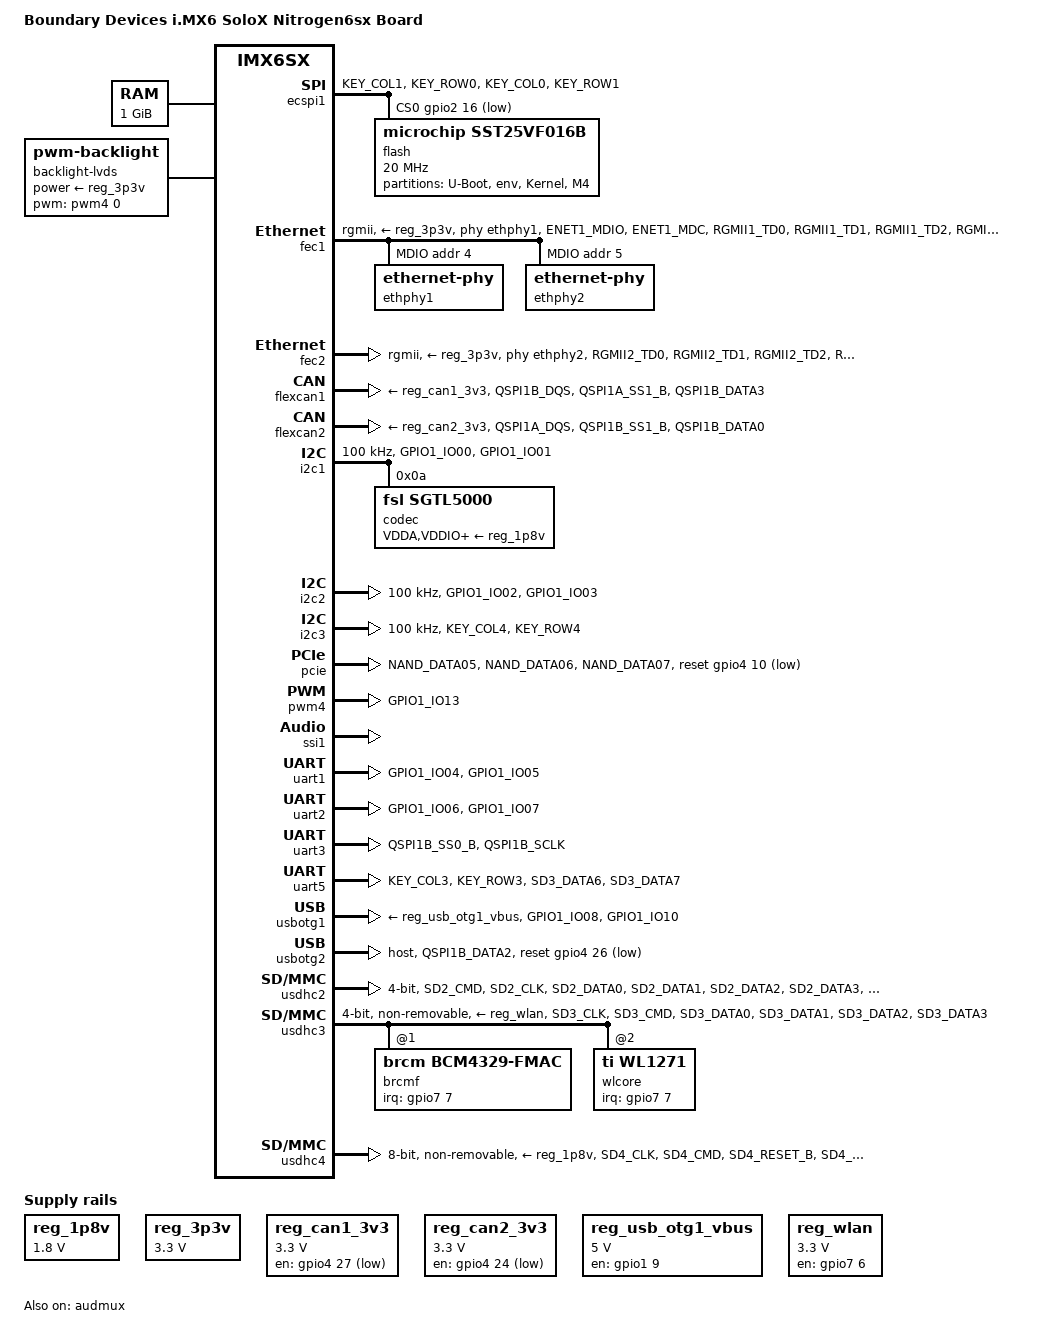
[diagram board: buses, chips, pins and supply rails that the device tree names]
// SPDX-License-Identifier: GPL-2.0 OR X11
/*
 * Copyright (C) 2016 Boundary Devices, Inc.
 */

/dts-v1/;

#include "imx6sx.dtsi"

/ {
	model = "Boundary Devices i.MX6 SoloX Nitrogen6sx Board";
	compatible = "boundary,imx6sx-nitrogen6sx", "fsl,imx6sx";

	memory@80000000 {
		reg = <0x80000000 0x40000000>;
	};

	backlight-lvds {
		compatible = "pwm-backlight";
		pwms = <&pwm4 0 5000000>;
		brightness-levels = <0 4 8 16 32 64 128 255>;
		default-brightness-level = <6>;
		power-supply = <&reg_3p3v>;
	};

	reg_1p8v: regulator-1p8v {
		compatible = "regulator-fixed";
		regulator-name = "1P8V";
		regulator-min-microvolt = <1800000>;
		regulator-max-microvolt = <1800000>;
		regulator-always-on;
	};

	reg_3p3v: regulator-3p3v {
		compatible = "regulator-fixed";
		regulator-name = "3P3V";
		regulator-min-microvolt = <3300000>;
		regulator-max-microvolt = <3300000>;
		regulator-always-on;
	};

	reg_can1_3v3: regulator-can1-3v3 {
		compatible = "regulator-fixed";
		regulator-name = "can1-3v3";
		regulator-min-microvolt = <3300000>;
		regulator-max-microvolt = <3300000>;
		gpio = <&gpio4 27 GPIO_ACTIVE_LOW>;
	};

	reg_can2_3v3: regulator-can2-3v3 {
		compatible = "regulator-fixed";
		regulator-name = "can2-3v3";
		regulator-min-microvolt = <3300000>;
		regulator-max-microvolt = <3300000>;
		gpio = <&gpio4 24 GPIO_ACTIVE_LOW>;
	};

	reg_usb_otg1_vbus: regulator-usb-otg1-vbus {
		pinctrl-names = "default";
		pinctrl-0 = <&pinctrl_usbotg1_vbus>;
		compatible = "regulator-fixed";
		regulator-name = "usb_otg1_vbus";
		regulator-min-microvolt = <5000000>;
		regulator-max-microvolt = <5000000>;
		gpio = <&gpio1 9 GPIO_ACTIVE_HIGH>;
		enable-active-high;
	};

	reg_wlan: regulator-wlan {
		pinctrl-names = "default";
		pinctrl-0 = <&pinctrl_reg_wlan>;
		compatible = "regulator-fixed";
		clocks = <&clks IMX6SX_CLK_CKO>;
		clock-names = "slow";
		regulator-name = "wlan-en";
		regulator-min-microvolt = <3300000>;
		regulator-max-microvolt = <3300000>;
		startup-delay-us = <70000>;
		gpio = <&gpio7 6 GPIO_ACTIVE_HIGH>;
		enable-active-high;
	};

	sound {
		compatible = "fsl,imx-audio-sgtl5000";
		model = "imx6sx-nitrogen6sx-sgtl5000";
		cpu-dai = <&ssi1>;
		audio-codec = <&codec>;
		audio-routing =
			"MIC_IN", "Mic Jack",
			"Mic Jack", "Mic Bias",
			"Headphone Jack", "HP_OUT";
		mux-int-port = <1>;
		mux-ext-port = <5>;
	};
};

&audmux {
	pinctrl-names = "default";
	pinctrl-0 = <&pinctrl_audmux>;
	status = "okay";
};

&ecspi1 {
	cs-gpios = <&gpio2 16 GPIO_ACTIVE_LOW>;
	pinctrl-names = "default";
	pinctrl-0 = <&pinctrl_ecspi1>;
	status = "okay";

	flash: m25p80@0 {
		compatible = "microchip,sst25vf016b";
		spi-max-frequency = <20000000>;
		reg = <0>;
		#address-cells = <1>;
		#size-cells = <1>;

		partition@0 {
			label = "U-Boot";
			reg = <0x0 0xc0000>;
			read-only;
		};

		partition@c0000 {
			label = "env";
			reg = <0xc0000 0x2000>;
			read-only;
		};

		partition@c2000 {
			label = "Kernel";
			reg = <0xc2000 0x11e000>;
		};

		partition@1e0000 {
			label = "M4";
			reg = <0x1e0000 0x20000>;
		};
	};
};

&fec1 {
	pinctrl-names = "default";
	pinctrl-0 = <&pinctrl_enet1>;
	phy-mode = "rgmii";
	phy-handle = <&ethphy1>;
	phy-supply = <&reg_3p3v>;
	fsl,magic-packet;
	status = "okay";

	mdio {
		#address-cells = <1>;
		#size-cells = <0>;

		ethphy1: ethernet-phy@4 {
			reg = <4>;
		};

		ethphy2: ethernet-phy@5 {
			reg = <5>;
		};
	};
};

&fec2 {
	pinctrl-names = "default";
	pinctrl-0 = <&pinctrl_enet2>;
	phy-mode = "rgmii";
	phy-handle = <&ethphy2>;
	phy-supply = <&reg_3p3v>;
	fsl,magic-packet;
	status = "okay";
};

&flexcan1 {
	pinctrl-names = "default";
	pinctrl-0 = <&pinctrl_flexcan1>;
	xceiver-supply = <&reg_can1_3v3>;
	status = "okay";
};

&flexcan2 {
	pinctrl-names = "default";
	pinctrl-0 = <&pinctrl_flexcan2>;
	xceiver-supply = <&reg_can2_3v3>;
	status = "okay";
};

&i2c1 {
	clock-frequency = <100000>;
	pinctrl-names = "default";
	pinctrl-0 = <&pinctrl_i2c1>;
	status = "okay";

	codec: sgtl5000@a {
		compatible = "fsl,sgtl5000";
		pinctrl-names = "default";
		pinctrl-0 = <&pinctrl_sgtl5000>;
		reg = <0x0a>;
		clocks = <&clks IMX6SX_CLK_CKO2>;
		VDDA-supply = <&reg_1p8v>;
		VDDIO-supply = <&reg_1p8v>;
		VDDD-supply = <&reg_1p8v>;
		assigned-clocks = <&clks IMX6SX_CLK_CKO2_SEL>,
				  <&clks IMX6SX_CLK_CKO2>;
		assigned-clock-parents = <&clks IMX6SX_CLK_OSC>;
		assigned-clock-rates = <0>, <24000000>;
	};
};

&i2c2 {
	clock-frequency = <100000>;
	pinctrl-names = "default";
	pinctrl-0 = <&pinctrl_i2c2>;
	status = "okay";
};

&i2c3 {
	clock-frequency = <100000>;
	pinctrl-names = "default";
	pinctrl-0 = <&pinctrl_i2c3>;
	status = "okay";
};

&pcie {
	pinctrl-names = "default";
	pinctrl-0 = <&pinctrl_pcie>;
	reset-gpio = <&gpio4 10 GPIO_ACTIVE_LOW>;
	status = "okay";
};

&pwm4 {
	pinctrl-names = "default";
	pinctrl-0 = <&pinctrl_pwm4>;
	status = "okay";
};

&ssi1 {
	status = "okay";
};

&uart1 {
	pinctrl-names = "default";
	pinctrl-0 = <&pinctrl_uart1>;
	status = "okay";
};

&uart2 {
	pinctrl-names = "default";
	pinctrl-0 = <&pinctrl_uart2>;
	status = "okay";
};

&uart3 {
	pinctrl-names = "default";
	pinctrl-0 = <&pinctrl_uart3>;
	uart-has-rtscts;
	status = "okay";
};

&uart5 {
	pinctrl-names = "default";
	pinctrl-0 = <&pinctrl_uart5>;
	status = "okay";
};

&usbotg1 {
	vbus-supply = <&reg_usb_otg1_vbus>;
	pinctrl-names = "default";
	pinctrl-0 = <&pinctrl_usbotg1>;
	status = "okay";
};

&usbotg2 {
	pinctrl-names = "default";
	pinctrl-0 = <&pinctrl_usbotg2>;
	dr_mode = "host";
	disable-over-current;
	reset-gpios = <&gpio4 26 GPIO_ACTIVE_LOW>;
	status = "okay";
};

&usdhc2 {
	pinctrl-names = "default";
	pinctrl-0 = <&pinctrl_usdhc2>;
	bus-width = <4>;
	cd-gpios = <&gpio2 12 GPIO_ACTIVE_LOW>;
	keep-power-in-suspend;
	wakeup-source;
	status = "okay";
};

&usdhc3 {
	#address-cells = <1>;
	#size-cells = <0>;
	pinctrl-names = "default";
	pinctrl-0 = <&pinctrl_usdhc3>;
	bus-width = <4>;
	non-removable;
	keep-power-in-suspend;
	vmmc-supply = <&reg_wlan>;
	cap-power-off-card;
	cap-sdio-irq;
	status = "okay";

	brcmf: wifi@1 {
		reg = <1>;
		compatible = "brcm,bcm4329-fmac";
		interrupt-parent = <&gpio7>;
		interrupts = <7 IRQ_TYPE_LEVEL_LOW>;
	};

	wlcore: wlcore@2 {
		compatible = "ti,wl1271";
		reg = <2>;
		interrupt-parent = <&gpio7>;
		interrupts = <7 IRQ_TYPE_LEVEL_LOW>;
		ref-clock-frequency = <38400000>;
	};
};

&usdhc4 {
	pinctrl-names = "default", "state_100mhz", "state_200mhz";
	pinctrl-0 = <&pinctrl_usdhc4_50mhz>;
	pinctrl-1 = <&pinctrl_usdhc4_100mhz>;
	pinctrl-2 = <&pinctrl_usdhc4_200mhz>;
	bus-width = <8>;
	non-removable;
	vmmc-supply = <&reg_1p8v>;
	keep-power-in-suspend;
	status = "okay";
};

&iomuxc {
	pinctrl-names = "default";
	pinctrl-0 = <&pinctrl_hog>;

	pinctrl_audmux: audmuxgrp {
		fsl,pins = <
			MX6SX_PAD_SD1_DATA0__AUDMUX_AUD5_RXD	0x1b0b0
			MX6SX_PAD_SD1_DATA1__AUDMUX_AUD5_TXC	0x1b0b0
			MX6SX_PAD_SD1_DATA2__AUDMUX_AUD5_TXFS	0x1b0b0
			MX6SX_PAD_SD1_DATA3__AUDMUX_AUD5_TXD	0x1b0b0
		>;
	};

	pinctrl_ecspi1: ecspi1grp {
		fsl,pins = <
			MX6SX_PAD_KEY_COL1__ECSPI1_MISO		0x100b1
			MX6SX_PAD_KEY_ROW0__ECSPI1_MOSI		0x100b1
			MX6SX_PAD_KEY_COL0__ECSPI1_SCLK		0x100b1
			MX6SX_PAD_KEY_ROW1__GPIO2_IO_16		0x0b0b1
		>;
	};

	pinctrl_enet1: enet1grp {
		fsl,pins = <
			MX6SX_PAD_ENET1_MDIO__ENET1_MDIO	0x1b0b0
			MX6SX_PAD_ENET1_MDC__ENET1_MDC		0x1b0b0
			MX6SX_PAD_RGMII1_TD0__ENET1_TX_DATA_0	0x30b1
			MX6SX_PAD_RGMII1_TD1__ENET1_TX_DATA_1	0x30b1
			MX6SX_PAD_RGMII1_TD2__ENET1_TX_DATA_2	0x30b1
			MX6SX_PAD_RGMII1_TD3__ENET1_TX_DATA_3	0x30b1
			MX6SX_PAD_RGMII1_TXC__ENET1_RGMII_TXC	0x30b1
			MX6SX_PAD_RGMII1_TX_CTL__ENET1_TX_EN	0x30b1
			MX6SX_PAD_RGMII1_RD0__ENET1_RX_DATA_0	0x3081
			MX6SX_PAD_RGMII1_RD1__ENET1_RX_DATA_1	0x3081
			MX6SX_PAD_RGMII1_RX_CTL__ENET1_RX_EN	0x3081
			MX6SX_PAD_RGMII1_RD2__ENET1_RX_DATA_2	0x3081
			MX6SX_PAD_RGMII1_RD3__ENET1_RX_DATA_3	0x3081
			MX6SX_PAD_RGMII1_RXC__ENET1_RX_CLK	0x3081
			MX6SX_PAD_ENET2_CRS__GPIO2_IO_7		0xb0b0
			MX6SX_PAD_ENET1_RX_CLK__GPIO2_IO_4	0xb0b0
			MX6SX_PAD_ENET1_TX_CLK__GPIO2_IO_5	0xb0b0
		>;
	};

	pinctrl_enet2: enet2grp {
		fsl,pins = <
			MX6SX_PAD_RGMII2_TD0__ENET2_TX_DATA_0	0x30b1
			MX6SX_PAD_RGMII2_TD1__ENET2_TX_DATA_1	0x30b1
			MX6SX_PAD_RGMII2_TD2__ENET2_TX_DATA_2	0x30b1
			MX6SX_PAD_RGMII2_TD3__ENET2_TX_DATA_3	0x30b1
			MX6SX_PAD_RGMII2_TXC__ENET2_RGMII_TXC	0x30b1
			MX6SX_PAD_RGMII2_TX_CTL__ENET2_TX_EN	0x30b1
			MX6SX_PAD_RGMII2_RD0__ENET2_RX_DATA_0	0x3081
			MX6SX_PAD_RGMII2_RD1__ENET2_RX_DATA_1	0x3081
			MX6SX_PAD_RGMII2_RX_CTL__ENET2_RX_EN	0x3081
			MX6SX_PAD_RGMII2_RD2__ENET2_RX_DATA_2	0x3081
			MX6SX_PAD_RGMII2_RD3__ENET2_RX_DATA_3	0x3081
			MX6SX_PAD_RGMII2_RXC__ENET2_RX_CLK	0x3081
			MX6SX_PAD_ENET2_COL__GPIO2_IO_6		0xb0b0
			MX6SX_PAD_ENET2_RX_CLK__GPIO2_IO_8	0xb0b0
			MX6SX_PAD_ENET2_TX_CLK__GPIO2_IO_9	0xb0b0
		>;
	};

	pinctrl_flexcan1: flexcan1grp {
		fsl,pins = <
			MX6SX_PAD_QSPI1B_DQS__CAN1_TX		0x1b0b0
			MX6SX_PAD_QSPI1A_SS1_B__CAN1_RX		0x1b0b0
			MX6SX_PAD_QSPI1B_DATA3__GPIO4_IO_27	0x1b0b0
			MX6SX_PAD_QSPI1B_DATA3__GPIO4_IO_27	0x0b0b0
		>;
	};

	pinctrl_flexcan2: flexcan2grp {
		fsl,pins = <
			MX6SX_PAD_QSPI1A_DQS__CAN2_TX		0x1b0b0
			MX6SX_PAD_QSPI1B_SS1_B__CAN2_RX		0x1b0b0
			MX6SX_PAD_QSPI1B_DATA0__GPIO4_IO_24	0x0b0b0
		>;
	};

	pinctrl_hog: hoggrp {
		fsl,pins = <
			MX6SX_PAD_NAND_CE0_B__GPIO4_IO_1	0x1b0b0
			MX6SX_PAD_NAND_CLE__GPIO4_IO_3		0x1b0b0
			MX6SX_PAD_NAND_RE_B__GPIO4_IO_12	0x1b0b0
			MX6SX_PAD_NAND_WE_B__GPIO4_IO_14	0x1b0b0
			MX6SX_PAD_NAND_WP_B__GPIO4_IO_15	0x1b0b0
			MX6SX_PAD_NAND_READY_B__GPIO4_IO_13	0x1b0b0
			MX6SX_PAD_QSPI1A_DATA0__GPIO4_IO_16	0x1b0b0
			MX6SX_PAD_QSPI1A_DATA1__GPIO4_IO_17	0x1b0b0
			MX6SX_PAD_QSPI1A_DATA2__GPIO4_IO_18	0x1b0b0
			MX6SX_PAD_QSPI1A_DATA3__GPIO4_IO_19	0x1b0b0
			MX6SX_PAD_SD1_CMD__CCM_CLKO1		0x000b0
			MX6SX_PAD_SD3_DATA5__GPIO7_IO_7		0x1b0b0
			/* Test points */
			MX6SX_PAD_NAND_DATA04__GPIO4_IO_8	0x1b0b0
			MX6SX_PAD_QSPI1B_DATA1__GPIO4_IO_25	0x1b0b0
		>;
	};

	pinctrl_i2c1: i2c1grp {
		fsl,pins = <
			MX6SX_PAD_GPIO1_IO00__I2C1_SCL		0x4001b8b1
			MX6SX_PAD_GPIO1_IO01__I2C1_SDA		0x4001b8b1
		>;
	};

	pinctrl_i2c2: i2c2grp {
		fsl,pins = <
			MX6SX_PAD_GPIO1_IO02__I2C2_SCL		0x4001b8b1
			MX6SX_PAD_GPIO1_IO03__I2C2_SDA		0x4001b8b1
		>;
	};

	pinctrl_i2c3: i2c3grp {
		fsl,pins = <
			MX6SX_PAD_KEY_COL4__I2C3_SCL		0x4001b8b1
			MX6SX_PAD_KEY_ROW4__I2C3_SDA		0x4001b8b1
		>;
	};

	pinctrl_pcie: pciegrp {
		fsl,pins = <
			MX6SX_PAD_NAND_DATA05__GPIO4_IO_9	0xb0b0
			MX6SX_PAD_NAND_DATA06__GPIO4_IO_10	0xb0b0
			MX6SX_PAD_NAND_DATA07__GPIO4_IO_11	0xb0b0
		>;
	};

	pinctrl_pwm4: pwm4grp {
		fsl,pins = <
			MX6SX_PAD_GPIO1_IO13__PWM4_OUT		0x110b0
		>;
	};

	pinctrl_reg_wlan: reg-wlangrp {
		fsl,pins = <
			MX6SX_PAD_SD3_DATA4__GPIO7_IO_6		0x1b0b0
			MX6SX_PAD_GPIO1_IO11__CCM_CLKO1		0x000b0
		>;
	};

	pinctrl_sgtl5000: sgtl5000grp {
		fsl,pins = <
			MX6SX_PAD_GPIO1_IO12__CCM_CLKO2		0x000b0
			MX6SX_PAD_ENET1_COL__GPIO2_IO_0		0x1b0b0
			MX6SX_PAD_ENET1_CRS__GPIO2_IO_1		0x1b0b0
			MX6SX_PAD_QSPI1A_SS0_B__GPIO4_IO_22	0xb0b0
		>;
	};

	pinctrl_uart1: uart1grp {
		fsl,pins = <
			MX6SX_PAD_GPIO1_IO04__UART1_TX		0x1b0b1
			MX6SX_PAD_GPIO1_IO05__UART1_RX		0x1b0b1
		>;
	};

	pinctrl_uart2: uart2grp {
		fsl,pins = <
			MX6SX_PAD_GPIO1_IO06__UART2_TX		0x1b0b1
			MX6SX_PAD_GPIO1_IO07__UART2_RX		0x1b0b1
		>;
	};

	pinctrl_uart3: uart3grp {
		fsl,pins = <
			MX6SX_PAD_QSPI1B_SS0_B__UART3_TX	0x1b0b1
			MX6SX_PAD_QSPI1B_SCLK__UART3_RX		0x1b0b1
		>;
	};

	pinctrl_uart5: uart5grp {
		fsl,pins = <
			MX6SX_PAD_KEY_COL3__UART5_TX		0x1b0b1
			MX6SX_PAD_KEY_ROW3__UART5_RX		0x1b0b1
			MX6SX_PAD_SD3_DATA6__UART3_RTS_B	0x1b0b1
			MX6SX_PAD_SD3_DATA7__UART3_CTS_B	0x1b0b1
		>;
	};

	pinctrl_usbotg1: usbotg1grp {
		fsl,pins = <
			MX6SX_PAD_GPIO1_IO08__USB_OTG1_OC	0x1b0b0
			MX6SX_PAD_GPIO1_IO10__ANATOP_OTG1_ID	0x170b1
		>;
	};

	pinctrl_usbotg1_vbus: usbotg1-vbusgrp {
		fsl,pins = <
			MX6SX_PAD_GPIO1_IO09__GPIO1_IO_9	0x1b0b0
		>;
	};

	pinctrl_usbotg2: usbotg2grp {
		fsl,pins = <
			MX6SX_PAD_QSPI1B_DATA2__GPIO4_IO_26	0xb0b0
		>;
	};

	pinctrl_usdhc2: usdhc2grp {
		fsl,pins = <
			MX6SX_PAD_SD2_CMD__USDHC2_CMD		0x17059
			MX6SX_PAD_SD2_CLK__USDHC2_CLK		0x10059
			MX6SX_PAD_SD2_DATA0__USDHC2_DATA0	0x17059
			MX6SX_PAD_SD2_DATA1__USDHC2_DATA1	0x17059
			MX6SX_PAD_SD2_DATA2__USDHC2_DATA2	0x17059
			MX6SX_PAD_SD2_DATA3__USDHC2_DATA3	0x17059
			MX6SX_PAD_KEY_COL2__GPIO2_IO_12		0x1b0b0
		>;
	};

	pinctrl_usdhc3: usdhc3grp {
		fsl,pins = <
			MX6SX_PAD_SD3_CLK__USDHC3_CLK		0x10071
			MX6SX_PAD_SD3_CMD__USDHC3_CMD		0x17071
			MX6SX_PAD_SD3_DATA0__USDHC3_DATA0	0x17071
			MX6SX_PAD_SD3_DATA1__USDHC3_DATA1	0x17071
			MX6SX_PAD_SD3_DATA2__USDHC3_DATA2	0x17071
			MX6SX_PAD_SD3_DATA3__USDHC3_DATA3	0x17071
		>;
	};

	pinctrl_usdhc4_50mhz: usdhc4-50mhzgrp {
		fsl,pins = <
			MX6SX_PAD_SD4_CLK__USDHC4_CLK		0x10071
			MX6SX_PAD_SD4_CMD__USDHC4_CMD		0x17071
			MX6SX_PAD_SD4_RESET_B__USDHC4_RESET_B	0x17071
			MX6SX_PAD_SD4_DATA0__USDHC4_DATA0	0x17071
			MX6SX_PAD_SD4_DATA1__USDHC4_DATA1	0x17071
			MX6SX_PAD_SD4_DATA2__USDHC4_DATA2	0x17071
			MX6SX_PAD_SD4_DATA3__USDHC4_DATA3	0x17071
			MX6SX_PAD_SD4_DATA4__USDHC4_DATA4	0x17071
			MX6SX_PAD_SD4_DATA5__USDHC4_DATA5	0x17071
			MX6SX_PAD_SD4_DATA6__USDHC4_DATA6	0x17071
			MX6SX_PAD_SD4_DATA7__USDHC4_DATA7	0x17071
		>;
	};

	pinctrl_usdhc4_100mhz: usdhc4-100mhzgrp {
		fsl,pins = <
			MX6SX_PAD_SD4_CLK__USDHC4_CLK		0x100b9
			MX6SX_PAD_SD4_CMD__USDHC4_CMD		0x170b9
			MX6SX_PAD_SD4_DATA0__USDHC4_DATA0	0x170b9
			MX6SX_PAD_SD4_DATA1__USDHC4_DATA1	0x170b9
			MX6SX_PAD_SD4_DATA2__USDHC4_DATA2	0x170b9
			MX6SX_PAD_SD4_DATA3__USDHC4_DATA3	0x170b9
			MX6SX_PAD_SD4_DATA4__USDHC4_DATA4	0x170b9
			MX6SX_PAD_SD4_DATA5__USDHC4_DATA5	0x170b9
			MX6SX_PAD_SD4_DATA6__USDHC4_DATA6	0x170b9
			MX6SX_PAD_SD4_DATA7__USDHC4_DATA7	0x170b9
		>;
	};

	pinctrl_usdhc4_200mhz: usdhc4-200mhzgrp {
		fsl,pins = <
			MX6SX_PAD_SD4_CLK__USDHC4_CLK		0x100f9
			MX6SX_PAD_SD4_CMD__USDHC4_CMD		0x170f9
			MX6SX_PAD_SD4_DATA0__USDHC4_DATA0	0x170f9
			MX6SX_PAD_SD4_DATA1__USDHC4_DATA1	0x170f9
			MX6SX_PAD_SD4_DATA2__USDHC4_DATA2	0x170f9
			MX6SX_PAD_SD4_DATA3__USDHC4_DATA3	0x170f9
			MX6SX_PAD_SD4_DATA4__USDHC4_DATA4	0x170f9
			MX6SX_PAD_SD4_DATA5__USDHC4_DATA5	0x170f9
			MX6SX_PAD_SD4_DATA6__USDHC4_DATA6	0x170f9
			MX6SX_PAD_SD4_DATA7__USDHC4_DATA7	0x170f9
		>;
	};
};
